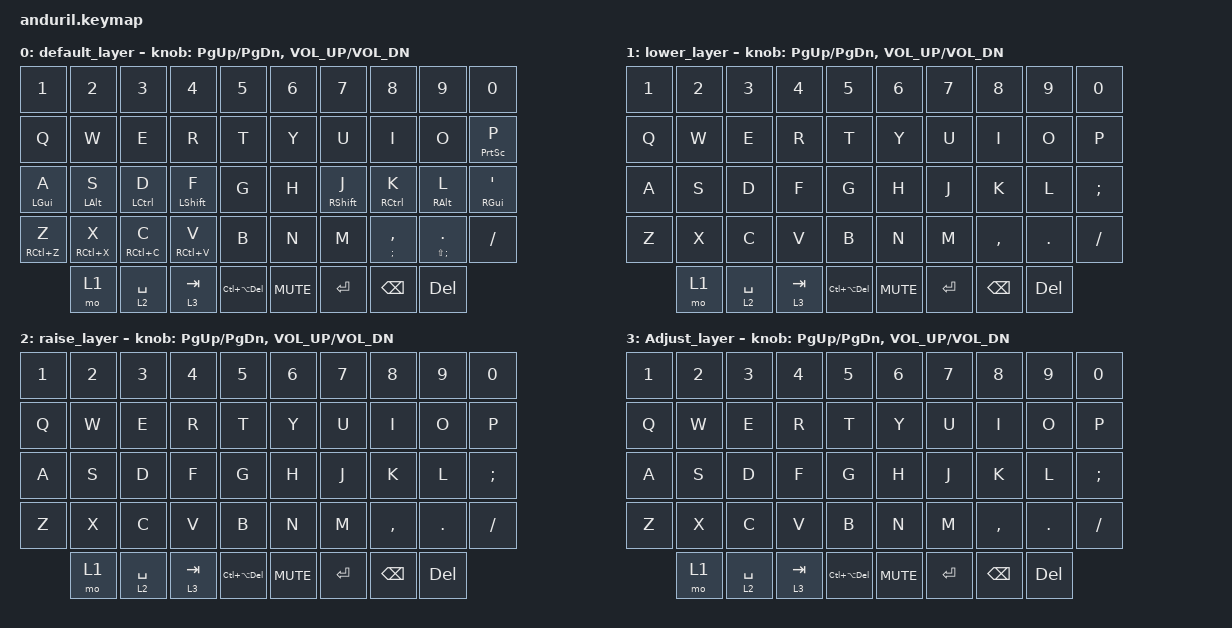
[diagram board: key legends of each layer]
/*
 * Copyright (c) 2020 The ZMK Contributors
 *
 * SPDX-License-Identifier: MIT
 */

#include <behaviors.dtsi>
#include <dt-bindings/zmk/keys.h>

#define BASE 0
#define LOWER 1
#define RAISE 2
#define ADJUST 3

/ {
    // Activate ADJUST layer by pressing raise and lower

    conditional_layers {
        compatible = "zmk,conditional-layers";

        adjust_layer {
            if-layers = <LOWER RAISE>;
            then-layer = <ADJUST>;
        };
    };

    keymap {
        compatible = "zmk,keymap";

        default_layer {
            // ------------------------------------------------------------------------------------------------------------
            // |  1  |  2  |  3   |  4   |  5   |                   |  6   |  7    |  8    |  9   |   0   |
            // |  Q  |  W  |  E   |  R   |  T   |                   |  Y   |  U    |  I    |  O   |   P   |
            // |  A  |  S  |  D   |  F   |  G   |                   |  H   |  J    |  K    |  L   |   ;   |
            // |  Z  |  X  |  C   |  V   |  B   | C/A/D|    | MUTE  |  N   |  M    |  ,    |  .   |   /   |
            //                    | ESC  | SPACE| TAB  |    | ENTER |  BS  |  DEL  | 

            bindings = <
&kp N1       &kp N2       &kp N3       &kp N4       &kp N5           &kp N6      &kp N7       &kp N8          &kp N9            &kp N0
&kp Q        &kp W        &kp E        &kp R        &kp T            &kp Y       &kp U        &kp I           &kp O             &mt PRINTSCREEN P
&mt LGUI A   &mt LALT S   &mt LCTRL D  &mt LSHFT F  &kp G            &kp H       &mt RSHFT J  &mt RCTRL K     &mt RALT L        &mt RGUI SINGLE_QUOTE
&mt RC(Z) Z  &mt RC(X) X  &mt RC(C) C  &mt RC(V) V  &kp B            &kp N       &kp M        &mt SEMI COMMA  &mt LS(SEMI) DOT  &kp FSLH
             &mo 1        &lt 2 SPACE  &lt 3 TAB    &kp LC(LA(DEL))  &kp C_MUTE  &kp ENTER    &kp BSPC        &kp DEL
            >;

            sensor-bindings = <&inc_dec_kp PG_UP PG_DN &inc_dec_kp C_VOL_UP C_VOL_DN>;
        };

        lower_layer {
            // ------------------------------------------------------------------------------------------------------------
            // |  1  |  2  |  3   |  4   |  5   |                   |  6   |  7    |  8    |  9   |   0   |
            // |  Q  |  W  |  E   |  R   |  T   |                   |  Y   |  U    |  I    |  O   |   P   |
            // |  A  |  S  |  D   |  F   |  G   |                   |  H   |  J    |  K    |  L   |   ;   |
            // |  Z  |  X  |  C   |  V   |  B   | C/A/D|    | MUTE  |  N   |  M    |  ,    |  .   |   /   |
            //                    | ESC  | SPACE| TAB  |    | ENTER |  BS  |  DEL  | 

            bindings = <
&kp N1  &kp N2  &kp N3       &kp N4     &kp N5           &kp N6      &kp N7     &kp N8     &kp N9   &kp N0
&kp Q   &kp W   &kp E        &kp R      &kp T            &kp Y       &kp U      &kp I      &kp O    &kp P
&kp A   &kp S   &kp D        &kp F      &kp G            &kp H       &kp J      &kp K      &kp L    &kp SEMI
&kp Z   &kp X   &kp C        &kp V      &kp B            &kp N       &kp M      &kp COMMA  &kp DOT  &kp FSLH
        &mo 1   &lt 2 SPACE  &lt 3 TAB  &kp LC(LA(DEL))  &kp C_MUTE  &kp ENTER  &kp BSPC   &kp DEL
            >;

            sensor-bindings = <&inc_dec_kp PG_UP PG_DN &inc_dec_kp C_VOL_UP C_VOL_DN>;
        };

        raise_layer {
            // ------------------------------------------------------------------------------------------------------------
            // |  1  |  2  |  3   |  4   |  5   |                   |  6   |  7    |  8    |  9   |   0   |
            // |  Q  |  W  |  E   |  R   |  T   |                   |  Y   |  U    |  I    |  O   |   P   |
            // |  A  |  S  |  D   |  F   |  G   |                   |  H   |  J    |  K    |  L   |   ;   |
            // |  Z  |  X  |  C   |  V   |  B   | C/A/D|    | MUTE  |  N   |  M    |  ,    |  .   |   /   |
            //                    | ESC  | SPACE| TAB  |    | ENTER |  BS  |  DEL  | 

            bindings = <
&kp N1  &kp N2  &kp N3       &kp N4     &kp N5           &kp N6      &kp N7     &kp N8     &kp N9   &kp N0
&kp Q   &kp W   &kp E        &kp R      &kp T            &kp Y       &kp U      &kp I      &kp O    &kp P
&kp A   &kp S   &kp D        &kp F      &kp G            &kp H       &kp J      &kp K      &kp L    &kp SEMI
&kp Z   &kp X   &kp C        &kp V      &kp B            &kp N       &kp M      &kp COMMA  &kp DOT  &kp FSLH
        &mo 1   &lt 2 SPACE  &lt 3 TAB  &kp LC(LA(DEL))  &kp C_MUTE  &kp ENTER  &kp BSPC   &kp DEL
            >;

            sensor-bindings = <&inc_dec_kp PG_UP PG_DN &inc_dec_kp C_VOL_UP C_VOL_DN>;
        };

        Adjust_layer {
            // ------------------------------------------------------------------------------------------------------------
            // |  1  |  2  |  3   |  4   |  5   |                   |  6   |  7    |  8    |  9   |   0   |
            // |  Q  |  W  |  E   |  R   |  T   |                   |  Y   |  U    |  I    |  O   |   P   |
            // |  A  |  S  |  D   |  F   |  G   |                   |  H   |  J    |  K    |  L   |   ;   |
            // |  Z  |  X  |  C   |  V   |  B   | C/A/D|    | MUTE  |  N   |  M    |  ,    |  .   |   /   |
            //                    | ESC  | SPACE| TAB  |    | ENTER |  BS  |  DEL  | 

            bindings = <
&kp N1  &kp N2  &kp N3       &kp N4     &kp N5           &kp N6      &kp N7     &kp N8     &kp N9   &kp N0
&kp Q   &kp W   &kp E        &kp R      &kp T            &kp Y       &kp U      &kp I      &kp O    &kp P
&kp A   &kp S   &kp D        &kp F      &kp G            &kp H       &kp J      &kp K      &kp L    &kp SEMI
&kp Z   &kp X   &kp C        &kp V      &kp B            &kp N       &kp M      &kp COMMA  &kp DOT  &kp FSLH
        &mo 1   &lt 2 SPACE  &lt 3 TAB  &kp LC(LA(DEL))  &kp C_MUTE  &kp ENTER  &kp BSPC   &kp DEL
            >;

            sensor-bindings = <&inc_dec_kp PG_UP PG_DN &inc_dec_kp C_VOL_UP C_VOL_DN>;
        };
    };
};

};
